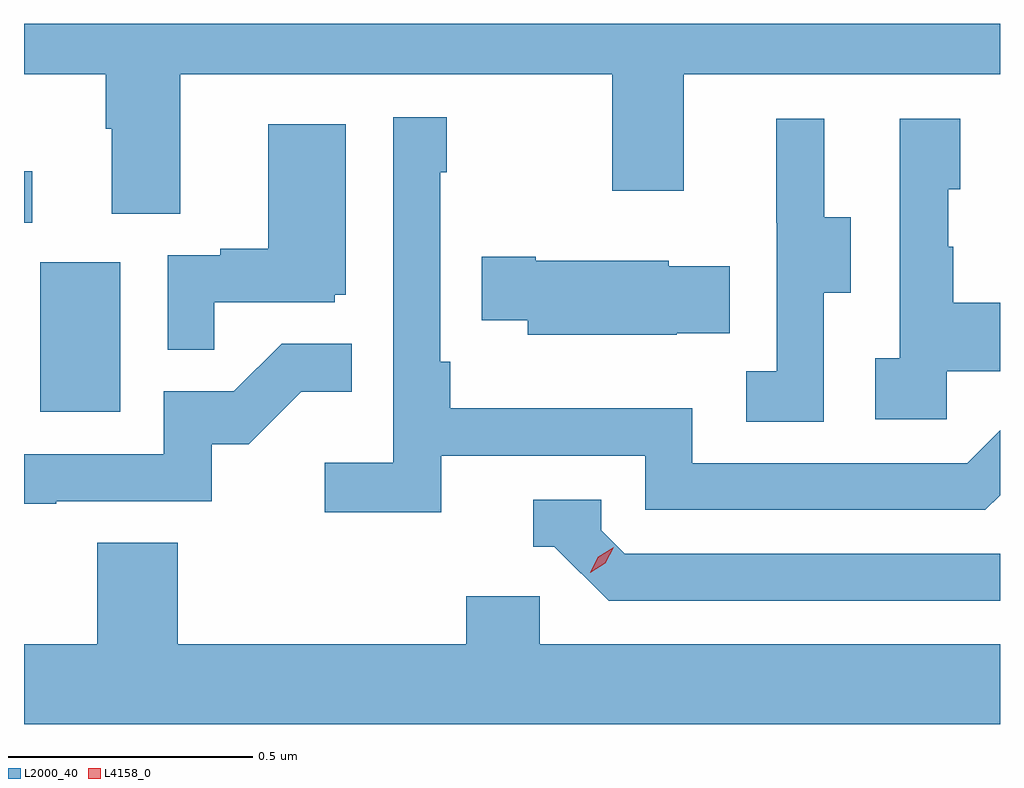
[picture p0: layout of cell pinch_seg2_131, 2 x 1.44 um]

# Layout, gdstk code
import gdstk
lib = gdstk.Library(unit=1e-6, precision=1e-09)
def R(c, l, rs):  # rectangles x0, y0, x1, y1
    for r in rs: c.add(gdstk.rectangle(r[:2], r[2:], *l))
def P(c, l, *ps):  # polygons
    for p in ps: c.add(gdstk.Polygon(p, *l))
L2000_40 = (2000, 40)
L4158_0 = (4158, 0)

pinch_seg2_131 = lib.new_cell('pinch_seg2_131')
R(pinch_seg2_131, L2000_40, [(1077.074,626.964,1077.238,627.271), (1077.041,627.351,1077.058,627.457)])
P(pinch_seg2_131, L2000_40, [(1077.361,627.656),(1078.246,627.656),(1078.246,627.417),(1078.393,627.417),(1078.393,627.656),(1079.041,627.656),(1079.041,627.759),(1077.041,627.759),(1077.041,627.656),(1077.209,627.656),(1077.209,627.544),(1077.221,627.544),(1077.221,627.37),(1077.361,627.37)],
  [(1077.896,626.874),(1078.314,626.874),(1078.314,626.763),(1079.011,626.763),(1079.041,626.793),(1079.041,626.926),(1078.974,626.859),(1078.41,626.859),(1078.41,626.971),(1077.914,626.971),(1077.914,627.067),(1077.894,627.067),(1077.894,627.455),(1077.907,627.455),(1077.907,627.568),(1077.798,627.568),(1077.798,626.86),(1077.657,626.86),(1077.657,626.758),(1077.896,626.758)],
  [(1078.68,627.208),(1078.735,627.208),(1078.735,627.363),(1078.681,627.363),(1078.681,627.565),(1078.583,627.565),(1078.583,627.351),(1078.584,627.351),(1078.584,627.047),(1078.521,627.047),(1078.521,626.944),(1078.68,626.944)],
  [(1078.932,627.047),(1079.041,627.047),(1079.041,627.187),(1078.945,627.187),(1078.945,627.302),(1078.935,627.302),(1078.935,627.42),(1078.96,627.42),(1078.96,627.565),(1078.836,627.565),(1078.836,627.074),(1078.785,627.074),(1078.785,626.949),(1078.932,626.949)],
  [(1077.431,627.189),(1077.678,627.189),(1077.678,627.204),(1077.7,627.204),(1077.7,627.553),(1077.542,627.553),(1077.542,627.298),(1077.443,627.298),(1077.443,627.285),(1077.336,627.285),(1077.336,627.091),(1077.431,627.091)],
  [(1078.379,627.125),(1078.487,627.125),(1078.487,627.262),(1078.362,627.262),(1078.362,627.274),(1078.09,627.274),(1078.09,627.282),(1077.979,627.282),(1077.979,627.152),(1078.073,627.152),(1078.073,627.122),(1078.379,627.122)],
  [(1077.107,626.781),(1077.426,626.781),(1077.426,626.898),(1077.502,626.898),(1077.609,627.005),(1077.713,627.005),(1077.713,627.104),(1077.569,627.104),(1077.471,627.006),(1077.327,627.006),(1077.327,626.877),(1077.041,626.877),(1077.041,626.776),(1077.107,626.776)],
  [(1079.041,626.673),(1078.272,626.673),(1078.224,626.721),(1078.224,626.784),(1078.085,626.784),(1078.085,626.688),(1078.128,626.688),(1078.239,626.577),(1079.041,626.577)],
  [(1079.041,626.488),(1078.098,626.488),(1078.098,626.586),(1077.947,626.586),(1077.947,626.488),(1077.356,626.488),(1077.356,626.696),(1077.191,626.696),(1077.191,626.488),(1077.041,626.488),(1077.041,626.324),(1079.041,626.324)])
P(pinch_seg2_131, L4158_0, [(1078.201,626.634),(1078.201,626.635),(1078.218,626.667),(1078.249,626.686),(1078.249,626.686),(1078.249,626.686),(1078.232,626.654),(1078.201,626.634)])

lib.write_gds('pinch_seg2_131.gds')
